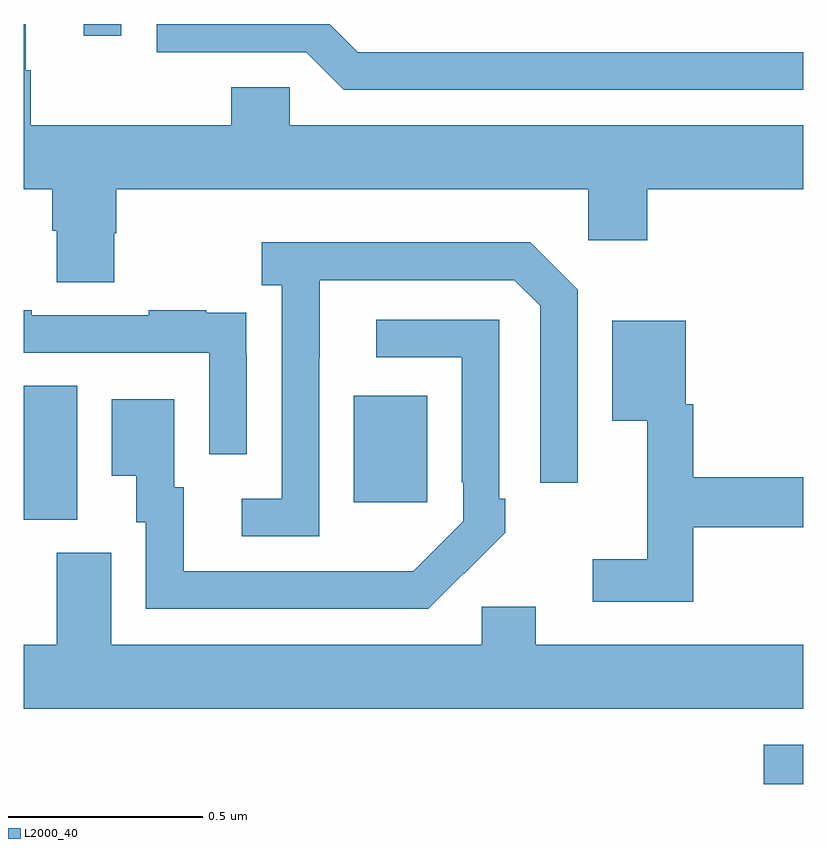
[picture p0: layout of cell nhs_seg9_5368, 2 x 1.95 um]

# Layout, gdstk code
import gdstk
lib = gdstk.Library(unit=1e-6, precision=1e-09)
def R(c, l, rs):  # rectangles x0, y0, x1, y1
    for r in rs: c.add(gdstk.rectangle(r[:2], r[2:], *l))
def P(c, l, *ps):  # polygons
    for p in ps: c.add(gdstk.Polygon(p, *l))
L2000_40 = (2000, 40)

nhs_seg9_5368 = lib.new_cell('nhs_seg9_5368')
R(nhs_seg9_5368, L2000_40, [(179.898,1205.551,180,1205.652), (178,1206.229,178.138,1206.572), (178.847,1206.273,179.035,1206.547), (178.154,1207.47,178.251,1207.5)])
P(nhs_seg9_5368, L2000_40, [(180,1207.428),(178.857,1207.428),(178.785,1207.5),(178.341,1207.5),(178.341,1207.428),(178.725,1207.428),(178.821,1207.332),(180,1207.332)],
  [(178.233,1206.963),(178.238,1206.963),(178.238,1207.076),(179.448,1207.076),(179.448,1206.945),(179.6,1206.945),(179.6,1207.076),(180,1207.076),(180,1207.24),(178.683,1207.24),(178.683,1207.338),(178.532,1207.338),(178.532,1207.24),(178.019,1207.24),(178.019,1207.382),(178.006,1207.382),(178.006,1207.5),(178,1207.5),(178,1207.076),(178.073,1207.076),(178.073,1206.97),(178.085,1206.97),(178.085,1206.838),(178.233,1206.838)],
  [(178.758,1206.643),(178.759,1206.643),(178.759,1206.843),(179.259,1206.843),(179.325,1206.777),(179.325,1206.324),(179.421,1206.324),(179.421,1206.819),(179.3,1206.94),(178.611,1206.94),(178.611,1206.83),(178.662,1206.83),(178.662,1206.282),(178.56,1206.282),(178.56,1206.186),(178.758,1206.186)],
  [(178.572,1206.65),(178.571,1206.65),(178.571,1206.759),(178.469,1206.759),(178.469,1206.766),(178.321,1206.766),(178.321,1206.753),(178.021,1206.753),(178.021,1206.766),(178,1206.766),(178,1206.657),(178.476,1206.657),(178.476,1206.396),(178.572,1206.396)],
  [(179.129,1206.091),(179.13,1206.09),(179.235,1206.195),(179.235,1206.283),(179.22,1206.283),(179.22,1206.741),(178.905,1206.741),(178.905,1206.645),(179.124,1206.645),(179.124,1206.325),(179.127,1206.325),(179.127,1206.225),(178.999,1206.097),(178.895,1206.097),(178.895,1206.096),(178.411,1206.096),(178.411,1206.312),(178.387,1206.312),(178.387,1206.538),(178.226,1206.538),(178.226,1206.341),(178.289,1206.341),(178.289,1206.222),(178.314,1206.222),(178.314,1206),(179.038,1206)],
  [(179.717,1206.21),(180,1206.21),(180,1206.338),(179.717,1206.338),(179.717,1206.525),(179.698,1206.525),(179.698,1206.739),(179.51,1206.739),(179.51,1206.482),(179.6,1206.482),(179.6,1206.127),(179.46,1206.127),(179.46,1206.018),(179.717,1206.018)],
  [(180,1205.908),(179.314,1205.908),(179.314,1206.006),(179.175,1206.006),(179.175,1205.908),(178.225,1205.908),(178.225,1206.144),(178.085,1206.144),(178.085,1205.908),(178,1205.908),(178,1205.744),(180,1205.744)])

lib.write_gds('nhs_seg9_5368.gds')
